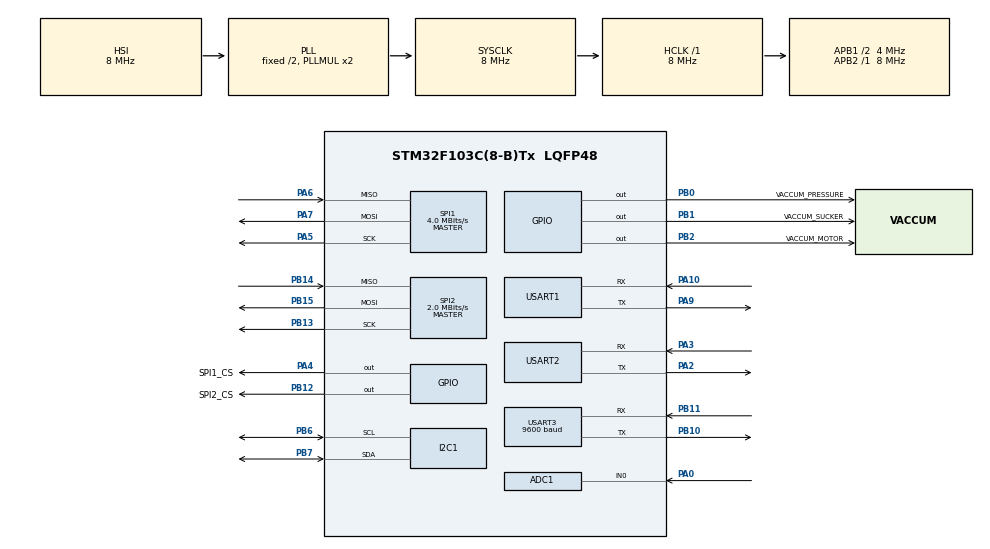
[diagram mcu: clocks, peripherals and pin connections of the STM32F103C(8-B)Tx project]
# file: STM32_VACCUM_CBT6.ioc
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ADC1.Channel-0\#ChannelRegularConversion=ADC_CHANNEL_0
ADC1.NbrOfConversionFlag=1
ADC1.Rank-0\#ChannelRegularConversion=1
ADC1.SamplingTime-0\#ChannelRegularConversion=ADC_SAMPLETIME_1CYCLE_5
ADC1.master=1
FATFS._MAX_SS=4096
FATFS._USE_LFN=1
Mcu.Family=STM32F1
Mcu.Name=STM32F103C(8-B)Tx
Mcu.Package=LQFP48
NVIC.PriorityGroup=NVIC_PRIORITYGROUP_4
NVIC.TIM3_IRQn=true\:0\:0\:false\:false\:true\:true\:true\:true
NVIC.USART1_IRQn=true\:0\:0\:false\:false\:true\:true\:true\:true
PA0-WKUP.Signal=ADCx_IN0
PA10.Mode=Asynchronous
PA10.Signal=USART1_RX
PA13.Mode=Serial_Wire
PA13.Signal=SYS_JTMS-SWDIO
PA14.Mode=Serial_Wire
PA14.Signal=SYS_JTCK-SWCLK
PA2.Mode=Asynchronous
PA2.Signal=USART2_TX
PA3.Mode=Asynchronous
PA3.Signal=USART2_RX
PA4.GPIO_Label=SPI1_CS
PA4.Signal=GPIO_Output
PA5.Mode=Full_Duplex_Master
PA5.Signal=SPI1_SCK
PA6.Mode=Full_Duplex_Master
PA6.Signal=SPI1_MISO
PA7.Mode=Full_Duplex_Master
PA7.Signal=SPI1_MOSI
PA9.Mode=Asynchronous
PA9.Signal=USART1_TX
PB0.GPIO_Label=VACCUM_PRESSURE
PB0.PinState=GPIO_PIN_SET
PB0.Signal=GPIO_Output
PB1.GPIO_Label=VACCUM_SUCKER
PB1.PinState=GPIO_PIN_SET
PB1.Signal=GPIO_Output
PB10.Mode=Asynchronous
PB10.Signal=USART3_TX
PB11.Mode=Asynchronous
PB11.Signal=USART3_RX
PB12.GPIO_Label=SPI2_CS
PB12.Signal=GPIO_Output
PB13.Mode=Full_Duplex_Master
PB13.Signal=SPI2_SCK
PB14.Mode=Full_Duplex_Master
PB14.Signal=SPI2_MISO
PB15.Mode=Full_Duplex_Master
PB15.Signal=SPI2_MOSI
PB2.GPIO_Label=VACCUM_MOTOR
PB2.PinState=GPIO_PIN_SET
PB2.Signal=GPIO_Output
PB6.Mode=I2C
PB6.Signal=I2C1_SCL
PB7.Mode=I2C
PB7.Signal=I2C1_SDA
ProjectManager.HeapSize=0x200
ProjectManager.StackSize=0x400
ProjectManager.TargetToolchain=STM32CubeIDE
RCC.ADCPresc=RCC_ADCPCLK2_DIV4
RCC.AHBFreq_Value=8000000
RCC.APB1CLKDivider=RCC_HCLK_DIV2
RCC.APB1Freq_Value=4000000
RCC.APB1TimFreq_Value=8000000
RCC.APB2Freq_Value=8000000
RCC.APB2TimFreq_Value=8000000
RCC.HCLKFreq_Value=8000000
RCC.SYSCLKFreq_VALUE=8000000
RCC.SYSCLKSource=RCC_SYSCLKSOURCE_PLLCLK
RCC.USBFreq_Value=8000000
SH.ADCx_IN0.0=ADC1_IN0,IN0
SPI1.BaudRatePrescaler=SPI_BAUDRATEPRESCALER_2
SPI1.CalculateBaudRate=4.0 MBits/s
SPI1.Direction=SPI_DIRECTION_2LINES
SPI1.Mode=SPI_MODE_MASTER
SPI1.VirtualType=VM_MASTER
SPI2.CalculateBaudRate=2.0 MBits/s
SPI2.Direction=SPI_DIRECTION_2LINES
SPI2.Mode=SPI_MODE_MASTER
SPI2.VirtualType=VM_MASTER
TIM3.Period=1000-1
TIM3.Prescaler=8000-1
USART1.VirtualMode=VM_ASYNC
USART2.VirtualMode=VM_ASYNC
USART3.BaudRate=9600
USART3.VirtualMode=VM_ASYNC
VP_FATFS_VS_Generic.Mode=User_defined
VP_TIM3_VS_ClockSourceINT.Mode=Internal
board=custom

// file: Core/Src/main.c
/* USER CODE BEGIN Header */
/**
  ******************************************************************************
  * @file           : main.c
  * @brief          : Main program body
  ******************************************************************************
  * @attention
  *
  * Copyright (c) 2023 STMicroelectronics.
  * All rights reserved.
  *
  * This software is  licensed under terms that can be found in the LICENSE file
  * in the root directory of this software component.
  * If no LICENSE file comes with this software, it is provided AS-IS.
  *
  ******************************************************************************
  */
/* USER CODE END Header */
#include "main.h"
#include "fatfs.h"

/* USER CODE BEGIN Includes */

#include <string.h>
#include <stdlib.h>
#include <stdio.h>
#include "display.h"
#include "ds1307_i2c.h"
#include "myheader.h"
#include "authentication.h"
#include "rp203ThermalPrinterDriver.h"

//#include "fatfs_sd_card.h"

/* USER CODE END Includes */

/* USER CODE BEGIN PTD */

//#include "ds1307_i2c.h"

//#include "profile_write.h"
//#include "profile_home.h"
//#include "profile_load.h"
//#include "mem_w25qxxDriver.h"

/* USER CODE END PTD */

/* USER CODE BEGIN PD */

#define DS1307

#ifdef DS1307

uint8_t rtc_time[13] ;
uint8_t rtc_date[14] ;

//date
 uint8_t ds1307_date ;
 uint8_t ds1307_month ;
 uint16_t ds1307_year ;

//time
 uint8_t ds1307_hour ;
 uint8_t ds1307_minute ;
 uint8_t ds1307_second ;

#endif

/* ################## variables used for dwin ######## */
uint8_t dwin_send_array[50];
uint8_t dwin_nitificationFlag = 0;

/*##############################################*/

/*@brief this variables are used for control system*/
uint8_t displayUartFlag 	=	0	;
uint8_t authFlag = 5 ;

//authentication variables
//uint8_t readData[21] ;
uint8_t auth_UserName[11] ;
uint8_t auth_PassWord[11] ;

//home page variables
uint8_t homepage_setprofile_name[27] ;
int homePage_setmmhg	=	0	;
uint8_t homePage_setMin		=	0	;
uint8_t homePage_setSec		=	0	;

//VACCUME MANAGE_VARIABLES BELOW//
uint64_t currenttime  ;

/* USER CODE END PD */

ADC_HandleTypeDef hadc1;

I2C_HandleTypeDef hi2c1;

SPI_HandleTypeDef hspi1;
SPI_HandleTypeDef hspi2;

TIM_HandleTypeDef htim3;

UART_HandleTypeDef huart1;
UART_HandleTypeDef huart2;
UART_HandleTypeDef huart3;

/* USER CODE BEGIN PV */

//volatile unsigned long millis = 0;
volatile uint16_t rxBufferCount = 0;
volatile uint8_t uni_sec = 0  ;

//uint8_t test[300];

/* USER CODE END PV */

void SystemClock_Config(void);
static void MX_GPIO_Init(void);
static void MX_SPI1_Init(void);
static void MX_SPI2_Init(void);
static void MX_USART1_UART_Init(void);
static void MX_USART3_UART_Init(void);
static void MX_ADC1_Init(void);
static void MX_I2C1_Init(void);
static void MX_TIM3_Init(void);
static void MX_USART2_UART_Init(void);

/* USER CODE BEGIN 0 */

static void profile_page_change1(uint8_t value)
{

	uint8_t nextPage_buff[] = { 0x5A, 0xA5, 0x07, 0x82, 0x00, 0x84, 0x5A, 0x01,0x00,value } ;
	HAL_UART_Transmit(&huart1, nextPage_buff, 10, HAL_MAX_DELAY);
	HAL_UART_Transmit(&huart1, nextPage_buff, 10, HAL_MAX_DELAY);

}

static void get_home_page_addr(uint16_t targetAddr , uint8_t value)
{
	memset(dwin_send_array, 0, sizeof(dwin_send_array)); // resetting or clearing the dwin_send_array

	dwin_send_array[0]		= 	0x5A 	;
	dwin_send_array[1]		= 	0xA5	;
	dwin_send_array[2]		=	0x05	;
	dwin_send_array[3]		=	0x82	;
	dwin_send_array[5]		=	targetAddr>>0	;//shift 0 bits to right gets lower bytes as LSB
	dwin_send_array[4]		=	targetAddr>>8 	;// shift 8 bits to right Gets higher bytes as MSB

	uint8_t _srNo		=	value	;
	uint8_t arr[10] 			;
	uint8_t iter		=	0	;
	uint8_t j			=	0	;

	memset(arr,0,sizeof(arr));

	while(_srNo > 0)
	{
		_srNo 		=	_srNo/10		;
		iter++;
	}
	sprintf( (char *)&arr,"%02d",value);

	for(uint8_t i= 6 ; i<8 ;i++)
	{
		dwin_send_array[i] = arr[j];
		j++;
	}
}

static void getStringOfDateNdTime(uint16_t targetAddr , uint8_t *string, uint8_t stringLen)
{
	memset(dwin_send_array, 0, sizeof(dwin_send_array));

	dwin_send_array[0]		= 	0x5A 	;
	dwin_send_array[1]		= 	0xA5	;
	dwin_send_array[2]		=	3 + stringLen ;
	dwin_send_array[3]		=	0x82	;
	dwin_send_array[5]		=	targetAddr>>0	;//shift 0 bits to get LSB
	dwin_send_array[4]		=	targetAddr>>8 	;// shift 8 bits to get MSB

//	HAL_UART_Transmit(&huart3, string, (stringLen), HAL_MAX_DELAY);

	for(uint8_t i= 6, j=0 ; j<stringLen ; i++,j++ )
	{
		dwin_send_array[i] = string[j] ;
//		HAL_UART_Transmit(&huart3, &dwin_send_array[i], 1, HAL_MAX_DELAY);
	}
//	HAL_UART_Transmit(&huart1, dwin_send_array, (6+stringLen), HAL_MAX_DELAY);
}

void getTime()
{
#ifdef DS1307

	  ds1307_date = DS1307_GetDate();
	  ds1307_month = DS1307_GetMonth();
	  ds1307_year = DS1307_GetYear();
	  ds1307_hour = DS1307_GetHour();
	  ds1307_minute = DS1307_GetMinute();
	  ds1307_second = DS1307_GetSecond();
	  sprintf( (char *)&rtc_date, "%02d/%02d/%04d", ds1307_date, ds1307_month, ds1307_year) ;
	  sprintf( (char *)&rtc_time, "%02d:%02d:%02d\n", ds1307_hour, ds1307_minute, ds1307_second) ;
//	  HAL_UART_Transmit(&huart3, rtc_time, strlen(rtc_time), HAL_MAX_DELAY);

#endif
}

static void update_date_nd_time()
{

#ifdef DS1307
	getTime() ;

	//send date
	getStringOfDateNdTime(UNIVERSAL_DATE_ADDR, (uint8_t *)rtc_date, strlen((const char*)rtc_date));
	HAL_UART_Transmit(&huart1, dwin_send_array, (6+strlen((char *)rtc_date)), HAL_MAX_DELAY);

	//send time
	getStringOfDateNdTime(UNIVERSAL_TIME_ADDR, (uint8_t *)rtc_time,( (uint8_t )strlen((const char*)rtc_time)));
	HAL_UART_Transmit(&huart1, dwin_send_array, (6+strlen((char *)rtc_date)), HAL_MAX_DELAY);
#endif

}

/* USER CODE END 0 */

int main(void)
{

  /* MCU Configuration--------------------------------------------------------*/

  /* Reset of all peripherals, Initializes the Flash interface and the Systick. */
  HAL_Init();

  /* Configure the system clock */
  SystemClock_Config();

  /* Initialize all configured peripherals */
  MX_GPIO_Init();
  MX_SPI1_Init();
  MX_SPI2_Init();
  MX_USART1_UART_Init();
  MX_USART3_UART_Init();
  MX_FATFS_Init();
  MX_ADC1_Init();
  MX_I2C1_Init();
  MX_TIM3_Init();
  MX_USART2_UART_Init();
  /* USER CODE BEGIN 2 */

  HAL_TIM_Base_Start_IT(&htim3) ;
  HAL_Delay(100) ;

	HAL_UART_Receive_IT(&huart1,&modemRxBuff[rxBufferCount],1);
	HAL_Delay(100) ;

	display_clearModemBuffer();

	 mem_W25qxx_Driver_init( (uint32_t *)SPI2_CS_GPIO_Port, SPI2_CS_Pin);

#ifdef DS1307
  /*** ds1307 code init below ***/

//	ds1307_second 	= 	mem_W25qxx_Driver_ReadByte(RTC_ADDR) ;
//	ds1307_minute	=	mem_W25qxx_Driver_ReadByte(RTC_ADDR+1) ;
//	ds1307_hour		=	mem_W25qxx_Driver_ReadByte(RTC_ADDR+2) ;
//	ds1307_date		=	mem_W25qxx_Driver_ReadByte(RTC_ADDR+3) ;
//	ds1307_month	=	mem_W25qxx_Driver_ReadByte(RTC_ADDR+4) ;
//
//	ds1307_year		+=	(mem_W25qxx_Driver_ReadByte(RTC_ADDR+5) <<8 ) ;
//	ds1307_year		+=	mem_W25qxx_Driver_ReadByte(RTC_ADDR+6)  ;

  	/* Start DS1307 timing. Pass user I2C handle pointer to function. */
	DS1307_Init(&hi2c1);
//	/* To test leap year correction. */
//	DS1307_SetTimeZone(+8, 00);
//	DS1307_SetDate(ds1307_date);
//	DS1307_SetMonth(ds1307_month);
//	DS1307_SetYear(ds1307_year);
//	DS1307_SetDayOfWeek(4);
//	DS1307_SetHour(ds1307_hour);
//	DS1307_SetMinute(ds1307_minute);
//	DS1307_SetSecond(ds1307_second);

#endif
//	mem_W25qxx_Driver_chipErase();
//	HAL_Delay(10000) ;

		uint8_t debug1[30];
	  sprintf((char *)&debug1, "application starts here\n");
//	  HAL_UART_Transmit(&huart3, debug1, strlen( (char *)debug1), HAL_MAX_DELAY);

	  /*** setting vaccum pressure and sucker pins high by defualt ***/
	  HAL_ADC_Start(&hadc1);

	  HAL_GPIO_WritePin(VACCUM_PRESSURE_GPIO_Port,VACCUM_PRESSURE_Pin,1);

	  HAL_GPIO_WritePin(VACCUM_SUCKER_GPIO_Port,VACCUM_SUCKER_Pin,1);

	  HAL_GPIO_WritePin(VACCUM_MOTOR_GPIO_Port,VACCUM_MOTOR_Pin,1);

	  /*** change DWIN display page it logo page ***/
	  	DWIN_PAGE_CHANGE(LOGO_PAGE_NUMBER);
	  HAL_Delay(1000) ;

	  /*** changing dwin display page to login page ***/
	  DWIN_PAGE_CHANGE(AUTH_PAGE_NUMBER);  //AUTHENTICATION PAGE ADDRESS
	  HAL_Delay(500) ;

	#ifdef FULL_FLASH_ERASE_AND_WRITE_ADMIN_CRED

	  mem_W25qxx_Driver_chipErase();
	  uint8_t readData[21] ;
	  uint8_t auth_UserName[11] ;
	  uint8_t auth_PassWord[11] ;
	  uint8_t array[21] ;
	  mem_strcpy(0, &array, 10, &auth_UserName, 6);
	  mem_strcpy(11, &array, 20, &auth_PassWord, 6);
	  mem_W25qxx_Driver_writeBytes(ADMIN_ADDR, array, 21) ;
	  mem_W25qxx_Driver_writeBytes(ADMIN_ADDR, &auth_PassWord, strlen(auth_PassWord)) ;
	  mem_W25qxx_Driver_ReadBytes(ADMIN_ADDR, readData,21);
	  for(uint8_t i=0; i<21; i++)
	  {
		  HAL_UART_Transmit(&huart1, &readData[i], 1, HAL_MAX_DELAY);
	  }
	#endif

	//#ifdef DELETE_USER_FUN

//	////  TODO:verifying delete future

//	uint8_t array[30] ;
//	uint8_t auth_UserName_t[] ="ADMIN" ;
//	uint8_t auth_PassWord_t[] = "ADMIN" ;
//
//
//    mem_W25qxx_Driver_sectorErase(( ADMIN_ADDR ));
//    HAL_Delay(1000) ;
////
////	mem_W25qxx_Driver_writeBytes(ADMIN_ADDR, array, 21) ;
//	mem_w25qxxDriver_Admin_write(auth_UserName_t, auth_PassWord_t );
//	uint8_t array1[23] ;
//	mem_W25qxx_Driver_ReadBytes(ADMIN_ADDR, array1, sizeof(array1)) ;
//	HAL_UART_Transmit(&huart3, array1, 22,1000) ;

	#ifdef DELETE_USER_FUN

	mem_W25qxx_Driver_chipErase();
//	mem_w25qxxDriver_Admin_write(auth_UserName_t, auth_PassWord_t );

	  counter = 1 ;
	  mem_w25qxxDriver_supervisor_write(auth_UserName_t, auth_PassWord_t, &counter );
	  counter = 2 ;
	  mem_w25qxxDriver_supervisor_write(auth_UserName_t, auth_PassWord_t, &counter );

	  change password for admin

	  mem_W25qxx_Driver_chipErase();
	  mem_W25qxx_Driver_sectorErase(SWAP_SECTOR_ADDR);

	  mem_W25qxx_Driver_sectorErase(TESTPROFILE_ADDR);

	#endif

	  homePage_setMin = 0 ;
	  homePage_setSec = 0 ;
	  homePage_setmmhg = 0 ;

  /* USER CODE END 2 */

  /* Infinite loop */
  while (1)
  {

    /* USER CODE BEGIN 3 */

	switch(current_page)
	{
		case ( AUTHENTICATION_PAGE ) :
		{
//			mem_W25qxx_Driver_sectorErase(MMHGGAUGEREFERENCE_ADDR);
//			HAL_Delay(200) ;

//			uint8_t *gaugeRef[12] ;
//			memset(gaugeRef, 0, sizeof(gaugeRef)) ;
//			mem_w25qxxDriver_Read_mmhg_GAUGEval( (uint8_t*)gaugeRef, sizeof(gaugeRef)) ;
//			uint8_t dt[30] ;
//			sprintf(dt, "#@dt: %d\n", atoi((const char *)gaugeRef) );
//			HAL_UART_Transmit(&huart3, dt, strlen(dt), HAL_MAX_DELAY) ;

			auth_init(&displayUartFlag, &authFlag,auth_UserName,auth_PassWord );//authFlag = 5 by defualt

			  if( (authFlag == 1) || (authFlag == 2) || (authFlag == 3) || (authFlag == 4))
			  {
				  if(authFlag == 4)//USER
				  {
					  profile_page_change1(ADMIN_HOME_START_PAGE_NUMBER);
					  current_page = MUITI_ADMIN_PROFILE ;
					  //CHAGNE:20-05
					  adminPageDirectionFlag = ADMIN_HOME_START_PAGE_NUMBER ;

				  }

				  if(authFlag == 3)//USER
				  {
					  profile_page_change1(HOME_PAGE_NUMBER);
					  current_page = USER_PRFILE ;
					  //CHAGNE:20-05
					  supervisorPageDirectionFlag = HOME_PAGE_NUMBER;
				  }

				  else if(authFlag == 2)//SUPER_USER
				  {
					  profile_page_change1(SUPERVISOR_HOME_START_PAGE_NUMBER);
					  current_page = SUPERVISOR_PROFILE ;
					  //CHAGNE:20-05
					  supervisorPageDirectionFlag= SUPERVISOR_HOME_START_PAGE_NUMBER ;
				  }

				  else if(authFlag  == 1)//ADMIN
				  {
					  profile_page_change1(ADMIN_HOME_START_PAGE_NUMBER);
				  	  current_page  = ADMIN_PROFILE ;
//				  	//CHAGNE:20-05
//				  	  adminPageDirectionFlag = ADMIN_HOME_START_PAGE_NUMBER ;
				  }

					 uint8_t dt[30] ;
					 dt[0] = 0x5A ;
					 dt[1] = 0xA5 ;
					 dt[2] = 0x05 ;
					 dt[3] = 0x82 ;
					 dt[4] = HOME_PAGE_PROFILENAME_ADDR>>8 ;// higher bytes in MSB
					 dt[5] = HOME_PAGE_PROFILENAME_ADDR>>0 ;// Lower  bytes in LSB
					 dt[6] = 0x00 ;
					 dt[7] = 0x00 ;
					 HAL_UART_Transmit(&huart1, dt, 8, HAL_MAX_DELAY) ;

					 dt[4] = HOME_PAGE_SET_VACCUM_ADDR>>8 ;
					 dt[5] = HOME_PAGE_SET_VACCUM_ADDR>>0 ;
					 HAL_UART_Transmit(&huart1, dt, 8, HAL_MAX_DELAY) ;

					 dt[4] = HOME_PAGE_SET_TIME_SEC_ADDR>>8 ;
					 dt[5] = HOME_PAGE_SET_TIME_SEC_ADDR>>0 ;
					 HAL_UART_Transmit(&huart1, dt, 8, HAL_MAX_DELAY) ;

					 dt[4] = HOME_PAGE_SET_TIME_MIN_ADDR>>8 ;
					 dt[5] = HOME_PAGE_SET_TIME_MIN_ADDR>>0 ;
					 HAL_UART_Transmit(&huart1, dt, 8, HAL_MAX_DELAY) ;

					 dt[4] = HOMEPAGE_CURRENT_VACCUM_ADDR1 ;
					 dt[5] = HOMEPAGE_CURRENT_VACCUM_ADDR2 ;
					 HAL_UART_Transmit(&huart1, dt, 8, HAL_MAX_DELAY) ;

					 dt[4] = HOMEPAGE_CURRENT_TIME_MIN_ADDR1 ;
					 dt[5] = HOMEPAGE_CURRENT_TIME_MIN_ADDR2 ;
					 HAL_UART_Transmit(&huart1, dt, 8, HAL_MAX_DELAY) ;

					 dt[4] = HOMEPAGE_CURRENT_TIME_SEC_ADDR1 ;
					 dt[5] = HOMEPAGE_CURRENT_TIME_SEC_ADDR2 ;
					 HAL_UART_Transmit(&huart1, dt, 8, HAL_MAX_DELAY) ;

					 homePage_setMin = 0 ;
					 homePage_setSec = 0 ;
					 homePage_setmmhg = 0 ;

					uint8_t fixedmmhg[5] ;
					mem_w25qxxDriver_read_fixed_mmhg(fixedmmhg) ;
//					uint8_t data[20] ;
//					sprintf(data,"d: %s\n", fixedmmhg) ;
//					HAL_UART_Transmit(&huart3, data, strlen(data), HAL_MAX_DELAY);

					uint8_t data2[30] ;
					data2[0] = 0x5A ;
					data2[1] = 0xA5 ;
					data2[2] = 0x08 ;
					data2[3] = 0X82 ;
					data2[4] = 0x25 ;
					data2[5] = 0x62 ;
					for(uint8_t i=0, j=6; i<4;i++,j++)
					{
						data2[j] = fixedmmhg[i] ;
					}
					HAL_UART_Transmit(&huart1, data2, 9, HAL_MAX_DELAY);
//					HAL_UART_Transmit(&huart3, data2, 9, HAL_MAX_DELAY);

			  }
			break ;
		}
		case (ADMIN_PROFILE) :
		{
			authentication_admin_init(&displayUartFlag);
			HAL_Delay(10) ;
			break ;
		}

		case (SUPERVISOR_PROFILE) :
		{
			authentication_SuperUser_init(&displayUartFlag);
			HAL_Delay(10) ;
			break ;
		}

		case (USER_PRFILE) :
		{
			authentication_SuperUser_init(&displayUartFlag);
			HAL_Delay(10) ;
			break ;
		}

		case (MUITI_ADMIN_PROFILE) :
		{
			authentication_admin_init(&displayUartFlag);
			break ;
		}

		default:
		{
			break ;
		}

	}

  }

  HAL_ADC_Stop(&hadc1);

  /* USER CODE END 3 */
}

void SystemClock_Config(void)
{
  RCC_OscInitTypeDef RCC_OscInitStruct = {0};
  RCC_ClkInitTypeDef RCC_ClkInitStruct = {0};
  RCC_PeriphCLKInitTypeDef PeriphClkInit = {0};

  /** Initializes the RCC Oscillators according to the specified parameters
  * in the RCC_OscInitTypeDef structure.
  */
  RCC_OscInitStruct.OscillatorType = RCC_OSCILLATORTYPE_HSI;
  RCC_OscInitStruct.HSIState = RCC_HSI_ON;
  RCC_OscInitStruct.HSICalibrationValue = RCC_HSICALIBRATION_DEFAULT;
  RCC_OscInitStruct.PLL.PLLState = RCC_PLL_ON;
  RCC_OscInitStruct.PLL.PLLSource = RCC_PLLSOURCE_HSI_DIV2;
  RCC_OscInitStruct.PLL.PLLMUL = RCC_PLL_MUL2;
  if (HAL_RCC_OscConfig(&RCC_OscInitStruct) != HAL_OK)
  {
    Error_Handler();
  }

  /** Initializes the CPU, AHB and APB buses clocks
  */
  RCC_ClkInitStruct.ClockType = RCC_CLOCKTYPE_HCLK|RCC_CLOCKTYPE_SYSCLK
                              |RCC_CLOCKTYPE_PCLK1|RCC_CLOCKTYPE_PCLK2;
  RCC_ClkInitStruct.SYSCLKSource = RCC_SYSCLKSOURCE_PLLCLK;
  RCC_ClkInitStruct.AHBCLKDivider = RCC_SYSCLK_DIV1;
  RCC_ClkInitStruct.APB1CLKDivider = RCC_HCLK_DIV2;
  RCC_ClkInitStruct.APB2CLKDivider = RCC_HCLK_DIV1;

  if (HAL_RCC_ClockConfig(&RCC_ClkInitStruct, FLASH_LATENCY_0) != HAL_OK)
  {
    Error_Handler();
  }
  PeriphClkInit.PeriphClockSelection = RCC_PERIPHCLK_ADC;
  PeriphClkInit.AdcClockSelection = RCC_ADCPCLK2_DIV4;
  if (HAL_RCCEx_PeriphCLKConfig(&PeriphClkInit) != HAL_OK)
  {
    Error_Handler();
  }
}

static void MX_ADC1_Init(void)
{

  ADC_ChannelConfTypeDef sConfig = {0};

  /** Common config
  */
  hadc1.Instance = ADC1;
  hadc1.Init.ScanConvMode = ADC_SCAN_DISABLE;
  hadc1.Init.ContinuousConvMode = DISABLE;
  hadc1.Init.DiscontinuousConvMode = DISABLE;
  hadc1.Init.ExternalTrigConv = ADC_SOFTWARE_START;
  hadc1.Init.DataAlign = ADC_DATAALIGN_RIGHT;
  hadc1.Init.NbrOfConversion = 1;
  if (HAL_ADC_Init(&hadc1) != HAL_OK)
  {
    Error_Handler();
  }

  /** Configure Regular Channel
  */
  sConfig.Channel = ADC_CHANNEL_0;
  sConfig.Rank = ADC_REGULAR_RANK_1;
  sConfig.SamplingTime = ADC_SAMPLETIME_1CYCLE_5;
  if (HAL_ADC_ConfigChannel(&hadc1, &sConfig) != HAL_OK)
  {
    Error_Handler();
  }

}

static void MX_I2C1_Init(void)
{

  hi2c1.Instance = I2C1;
  hi2c1.Init.ClockSpeed = 100000;
  hi2c1.Init.DutyCycle = I2C_DUTYCYCLE_2;
  hi2c1.Init.OwnAddress1 = 0;
  hi2c1.Init.AddressingMode = I2C_ADDRESSINGMODE_7BIT;
  hi2c1.Init.DualAddressMode = I2C_DUALADDRESS_DISABLE;
  hi2c1.Init.OwnAddress2 = 0;
  hi2c1.Init.GeneralCallMode = I2C_GENERALCALL_DISABLE;
  hi2c1.Init.NoStretchMode = I2C_NOSTRETCH_DISABLE;
  if (HAL_I2C_Init(&hi2c1) != HAL_OK)
  {
    Error_Handler();
  }

}

static void MX_SPI1_Init(void)
{

  /* SPI1 parameter configuration*/
  hspi1.Instance = SPI1;
  hspi1.Init.Mode = SPI_MODE_MASTER;
  hspi1.Init.Direction = SPI_DIRECTION_2LINES;
  hspi1.Init.DataSize = SPI_DATASIZE_8BIT;
  hspi1.Init.CLKPolarity = SPI_POLARITY_LOW;
  hspi1.Init.CLKPhase = SPI_PHASE_1EDGE;
  hspi1.Init.NSS = SPI_NSS_SOFT;
  hspi1.Init.BaudRatePrescaler = SPI_BAUDRATEPRESCALER_2;
  hspi1.Init.FirstBit = SPI_FIRSTBIT_MSB;
  hspi1.Init.TIMode = SPI_TIMODE_DISABLE;
  hspi1.Init.CRCCalculation = SPI_CRCCALCULATION_DISABLE;
  hspi1.Init.CRCPolynomial = 10;
  if (HAL_SPI_Init(&hspi1) != HAL_OK)
  {
    Error_Handler();
  }

}

static void MX_SPI2_Init(void)
{

  /* SPI2 parameter configuration*/
  hspi2.Instance = SPI2;
  hspi2.Init.Mode = SPI_MODE_MASTER;
  hspi2.Init.Direction = SPI_DIRECTION_2LINES;
  hspi2.Init.DataSize = SPI_DATASIZE_8BIT;
  hspi2.Init.CLKPolarity = SPI_POLARITY_LOW;
  hspi2.Init.CLKPhase = SPI_PHASE_1EDGE;
  hspi2.Init.NSS = SPI_NSS_SOFT;
  hspi2.Init.BaudRatePrescaler = SPI_BAUDRATEPRESCALER_2;
  hspi2.Init.FirstBit = SPI_FIRSTBIT_MSB;
  hspi2.Init.TIMode = SPI_TIMODE_DISABLE;
  hspi2.Init.CRCCalculation = SPI_CRCCALCULATION_DISABLE;
  hspi2.Init.CRCPolynomial = 10;
  if (HAL_SPI_Init(&hspi2) != HAL_OK)
  {
    Error_Handler();
  }

}

static void MX_TIM3_Init(void)
{

  TIM_ClockConfigTypeDef sClockSourceConfig = {0};
  TIM_MasterConfigTypeDef sMasterConfig = {0};

  htim3.Instance = TIM3;
  htim3.Init.Prescaler = 8000-1;
  htim3.Init.CounterMode = TIM_COUNTERMODE_UP;
  htim3.Init.Period = 1000-1;
  htim3.Init.ClockDivision = TIM_CLOCKDIVISION_DIV1;
  htim3.Init.AutoReloadPreload = TIM_AUTORELOAD_PRELOAD_DISABLE;
  if (HAL_TIM_Base_Init(&htim3) != HAL_OK)
  {
    Error_Handler();
  }
  sClockSourceConfig.ClockSource = TIM_CLOCKSOURCE_INTERNAL;
  if (HAL_TIM_ConfigClockSource(&htim3, &sClockSourceConfig) != HAL_OK)
  {
    Error_Handler();
  }
  sMasterConfig.MasterOutputTrigger = TIM_TRGO_RESET;
  sMasterConfig.MasterSlaveMode = TIM_MASTERSLAVEMODE_DISABLE;
  if (HAL_TIMEx_MasterConfigSynchronization(&htim3, &sMasterConfig) != HAL_OK)
  {
    Error_Handler();
  }

}

static void MX_USART1_UART_Init(void)
{

  huart1.Instance = USART1;
  huart1.Init.BaudRate = 115200;
  huart1.Init.WordLength = UART_WORDLENGTH_8B;
  huart1.Init.StopBits = UART_STOPBITS_1;
  huart1.Init.Parity = UART_PARITY_NONE;
  huart1.Init.Mode = UART_MODE_TX_RX;
  huart1.Init.HwFlowCtl = UART_HWCONTROL_NONE;
  huart1.Init.OverSampling = UART_OVERSAMPLING_16;
  if (HAL_UART_Init(&huart1) != HAL_OK)
  {
    Error_Handler();
  }

}

static void MX_USART2_UART_Init(void)
{

  huart2.Instance = USART2;
  huart2.Init.BaudRate = 115200;
  huart2.Init.WordLength = UART_WORDLENGTH_8B;
  huart2.Init.StopBits = UART_STOPBITS_1;
  huart2.Init.Parity = UART_PARITY_NONE;
  huart2.Init.Mode = UART_MODE_TX_RX;
  huart2.Init.HwFlowCtl = UART_HWCONTROL_NONE;
  huart2.Init.OverSampling = UART_OVERSAMPLING_16;
  if (HAL_UART_Init(&huart2) != HAL_OK)
  {
    Error_Handler();
  }

}

static void MX_USART3_UART_Init(void)
{

  huart3.Instance = USART3;
  huart3.Init.BaudRate = 9600;
  huart3.Init.WordLength = UART_WORDLENGTH_8B;
  huart3.Init.StopBits = UART_STOPBITS_1;
  huart3.Init.Parity = UART_PARITY_NONE;
  huart3.Init.Mode = UART_MODE_TX_RX;
  huart3.Init.HwFlowCtl = UART_HWCONTROL_NONE;
  huart3.Init.OverSampling = UART_OVERSAMPLING_16;
  if (HAL_UART_Init(&huart3) != HAL_OK)
  {
    Error_Handler();
  }

}

static void MX_GPIO_Init(void)
{
  GPIO_InitTypeDef GPIO_InitStruct = {0};

  /* GPIO Ports Clock Enable */
  __HAL_RCC_GPIOA_CLK_ENABLE();
  __HAL_RCC_GPIOB_CLK_ENABLE();

  /*Configure GPIO pin Output Level */
  HAL_GPIO_WritePin(SPI1_CS_GPIO_Port, SPI1_CS_Pin, GPIO_PIN_RESET);

  /*Configure GPIO pin Output Level */
  HAL_GPIO_WritePin(GPIOB, VACCUM_PRESSURE_Pin|VACCUM_SUCKER_Pin|VACCUM_MOTOR_Pin, GPIO_PIN_SET);

  /*Configure GPIO pin Output Level */
  HAL_GPIO_WritePin(SPI2_CS_GPIO_Port, SPI2_CS_Pin, GPIO_PIN_RESET);

  /*Configure GPIO pin : SPI1_CS_Pin */
  GPIO_InitStruct.Pin = SPI1_CS_Pin;
  GPIO_InitStruct.Mode = GPIO_MODE_OUTPUT_PP;
  GPIO_InitStruct.Pull = GPIO_NOPULL;
  GPIO_InitStruct.Speed = GPIO_SPEED_FREQ_LOW;
  HAL_GPIO_Init(SPI1_CS_GPIO_Port, &GPIO_InitStruct);

  /*Configure GPIO pins : VACCUM_PRESSURE_Pin VACCUM_SUCKER_Pin VACCUM_MOTOR_Pin SPI2_CS_Pin */
  GPIO_InitStruct.Pin = VACCUM_PRESSURE_Pin|VACCUM_SUCKER_Pin|VACCUM_MOTOR_Pin|SPI2_CS_Pin;
  GPIO_InitStruct.Mode = GPIO_MODE_OUTPUT_PP;
  GPIO_InitStruct.Pull = GPIO_NOPULL;
  GPIO_InitStruct.Speed = GPIO_SPEED_FREQ_LOW;
  HAL_GPIO_Init(GPIOB, &GPIO_InitStruct);

}

/* USER CODE BEGIN 4 */

//void HAL_TIM_PeriodElapsedCallback(TIM_HandleTypeDef *htim)
//{
//
//
//	if( htim->Instance == TIM2 )
//	{
//		currenttime++;
//
//	}
//
//  /* NOTE : This function should not be modified, when the callback is needed,
//            the HAL_TIM_PeriodElapsedCallback could be implemented in the user file
//   */
//}

void HAL_TIM_PeriodElapsedCallback(TIM_HandleTypeDef* htim)
{
	if( (authFlag == 1) || (authFlag == 2) || ( authFlag == 3 ) || ( authFlag == 4 ) )
	{
		if(changeTimeIndex == 0 )
		{

		   update_date_nd_time();
		}
		 uni_sec++ ;
		 display_runTimeUpdateToDisplay(runstopFlag, uni_sec);
	}

}

void HAL_UART_RxCpltCallback(UART_HandleTypeDef *huart)
{

  if(huart == &huart1){
	  displayUartFlag =1;

	if(rxBufferCount > MAX_MODEM_RX_BUFF){
		rxBufferCount = 0;
	}
    modemRxBuff[rxBufferCount] = huart->Instance->DR;
//    HAL_UART_Transmit(&huart3, modemRxBuff, 1, 1);
    rxBufferCount++;

  }
    HAL_UART_Receive_IT(&huart1,&modemRxBuff[rxBufferCount],1);
//    HAL_UART_Transmit(&huart1, &modemRxBuff, strlen(modemRxBuff), 1);

}

/* USER CODE END 4 */

void Error_Handler(void)
{
  __disable_irq();
  while (1)
  {
  }
}
